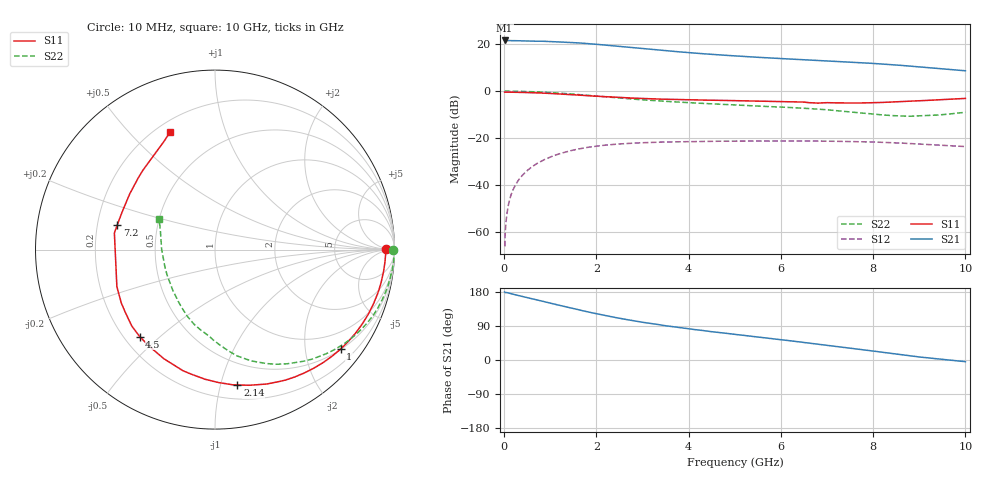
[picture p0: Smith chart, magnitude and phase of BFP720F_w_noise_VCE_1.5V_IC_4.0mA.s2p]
! Infineon Technologies  Discrete & RF Semiconductors
! BFP720F
! VCE =  1.5 V,  IC =  4.0 mA
! Common Emitter S-Parameters:  Jan 2016
# GHz  S  MA  R  50
!  f  S11  S21  S12  S22
! GHz  MAG  ANG  MAG  ANG  MAG  ANG  MAG  ANG
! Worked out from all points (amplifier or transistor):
!   233 points, 10 MHz to 10 GHz, reference 50 ohm
!   highest |S21| = 21.6 dB at 10 MHz (marker M1)
!   |S21| within 3 dB of that: start of sweep to 2.74 GHz
!   unconditionally stable (mu >= 1): start of sweep to 10.64 MHz; 8.458 GHz to end of sweep
!   at 200 MHz: K = 0.02, MSG = 31.6 dB, |S12| = -41.7 dB
!   at 1.74 GHz: K = 0.19, MSG = 22.3 dB, |S12| = -24.2 dB
!   at 10 GHz: K = 1.21, MAG = 13.4 dB, |S12| = -23.6 dB
!   lowest NFmin = 0.41 dB at 450 MHz
!   S11 on the Smith chart (normalised r, x): 10 MHz: 39, +1; 1 GHz: 0.51, -2.79; 2.14 GHz: 0.31, -1.13; 4.5 GHz: 0.26, -0.43; 7.2 GHz: 0.28, +0.11; 10 GHz: 0.26, +0.65
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0.01  0.9504 0.1  11.98 179.6  0.0005 11.3  0.9908 -0.1
0.02  0.952 -0.7  11.76 177.9  0.0008 97.2  1 -1.2
0.05  0.9503 -2.0  11.91 178.1  0.002 90.8  0.9972 -1.4
0.08  0.9499 -3.1  11.91 177.2  0.0033 88.8  0.9974 -2.2
0.22  0.9458 -8.4  11.85 172.8  0.009 85.0  0.9945 -6.0
0.4  0.9385 -15.3  11.77 167.5  0.0163 80.3  0.9857 -11.1
0.8  0.9111 -30.7  11.57 155.9  0.0321 69.9  0.9562 -22.0
1  0.8926 -38.4  11.37 150.1  0.0395 64.8  0.9336 -27.5
1.32  0.858 -50.8  10.97 140.8  0.0502 56.7  0.8902 -36.1
1.68  0.8152 -64.7  10.52 130.7  0.0604 48.0  0.8332 -45.5
2.14  0.7643 -80.6  9.654 118.6  0.0699 37.7  0.7612 -56.3
2.78  0.7109 -99.1  8.414 104.1  0.0779 26.1  0.6753 -68.5
3.4  0.675 -113.0  7.404 92.4  0.082 17.4  0.6148 -76.8
4  0.652 -123.7  6.603 82.2  0.0843 10.4  0.5673 -82.7
4.5  0.6411 -130.9  6.063 74.7  0.0855 5.6  0.5361 -86.6
5.1  0.6254 -138.7  5.543 66.3  0.0864 0.1  0.5012 -91.4
6  0.6009 -150.3  4.938 53.5  0.0871 -7.3  0.4585 -99.3
6.8  0.5557 -177.2  4.499 41.9  0.0863 -14.0  0.4127 -109.9
7.2  0.5617 166.1  4.285 35.9  0.0854 -17.3  0.3839 -116.8
8.4  0.5859 136.7  3.658 17.2  0.08 -27.1  0.3022 -152.1
9  0.6234 123.6  3.28 8.0  0.0746 -31.3  0.2973 179.5
10  0.6994 111.1  2.71 -4.4  0.066 -34.8  0.3542 151.4
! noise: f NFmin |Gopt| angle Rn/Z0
0.45  0.41  0.54  3  0.21
0.9  0.44  0.54  10  0.19
1.8  0.49  0.5  21  0.17
2.4  0.53  0.48  29  0.15
5.5  0.73  0.4  74  0.1
10  1.03  0.26  -115  0.14
